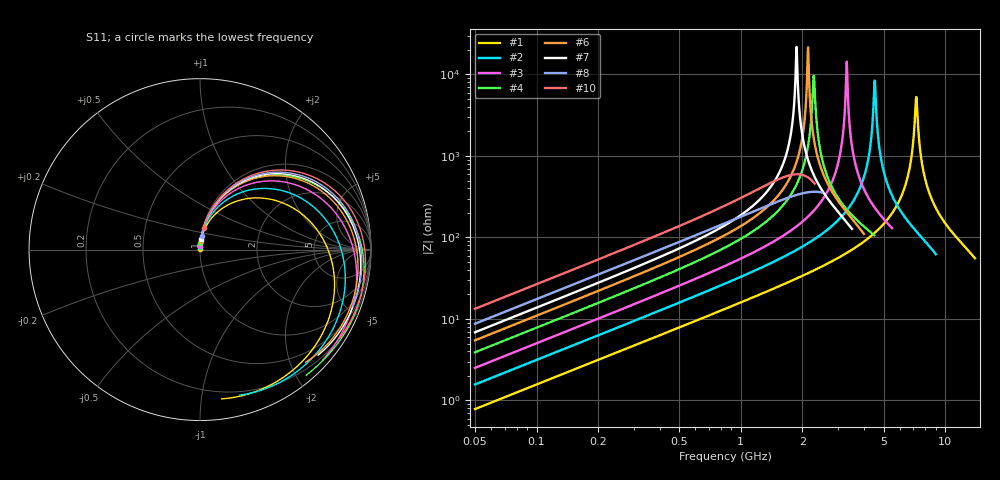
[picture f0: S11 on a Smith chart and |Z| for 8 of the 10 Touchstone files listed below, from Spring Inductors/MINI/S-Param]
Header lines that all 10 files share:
! 30 May 2003
# MHZ S MA R 50
!Freq  MagS11  AngS11  MagS21  AngS21  MagS12  AngS12  MagS22  AngS22
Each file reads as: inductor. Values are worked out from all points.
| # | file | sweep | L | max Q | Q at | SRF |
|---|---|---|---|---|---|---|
| 1 | A01Tmini.S2P | 50 MHz to 14 GHz | 2.49 nH | 1.14e+03 | 1.42 GHz | 7.223 GHz |
| 2 | A02Tmini.S2P | 50 MHz to 9 GHz | 5 nH | 792 | 1.08 GHz | 4.52 GHz |
| 3 | A03Tmini.S2P | 50 MHz to 5.5 GHz | 7.98 nH | 666 | 930 MHz | 3.29 GHz |
| 4 | A04Tmini.S2P | 50 MHz to 4.5 GHz | 12.4 nH | 449 | 625 MHz | 2.275 GHz |
| 5 | A05Tmini.S2P | 50 MHz to 3.5 GHz | 18.4 nH | 480 | 660 MHz | 3.04 GHz |
| 6 | B06Tmini.S2P | 50 MHz to 4 GHz | 17.4 nH | 372 | 715 MHz | 2.13 GHz |
| 7 | B07Tmini.S2P | 50 MHz to 3.5 GHz | 21.8 nH | 346 | 625 MHz | 1.87 GHz |
| 8 | B08Tmini.S2P | 50 MHz to 2.5 GHz | 27.8 nH | 363 | 620 MHz | - |
| 9 | B09Tmini.S2P | 50 MHz to 2.5 GHz | 35.1 nH | 347 | 570 MHz | - |
| 10 | B10Tmini.S2P | 50 MHz to 2.3 GHz | 42.4 nH | 290 | 495 MHz | - |
